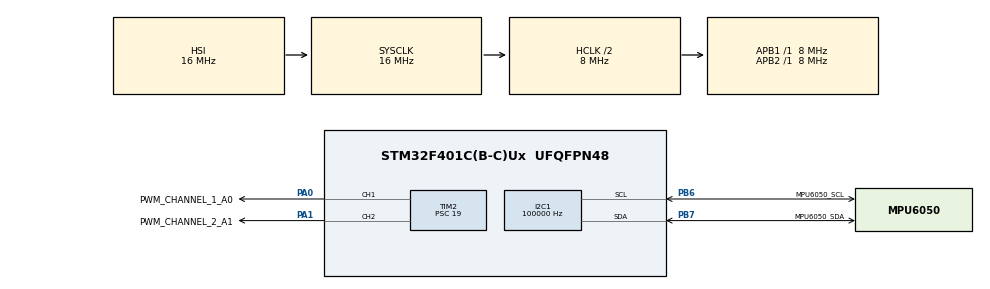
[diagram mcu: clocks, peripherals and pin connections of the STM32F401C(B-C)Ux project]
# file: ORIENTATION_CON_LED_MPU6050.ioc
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I2C1.ClockSpeed=100000
I2C1.I2C_Mode=I2C_Standard
Mcu.Family=STM32F4
Mcu.Name=STM32F401C(B-C)Ux
Mcu.Package=UFQFPN48
NVIC.PriorityGroup=NVIC_PRIORITYGROUP_4
NVIC.TIM2_IRQn=true\:0\:0\:false\:false\:true\:true\:true\:true
PA0-WKUP.GPIO_Label=PWM_CHANNEL_1_A0
PA0-WKUP.Signal=S_TIM2_CH1_ETR
PA1.GPIO_Label=PWM_CHANNEL_2_A1
PA1.Signal=S_TIM2_CH2
PB6.GPIO_Label=MPU6050_SCL
PB6.Mode=I2C
PB6.Signal=I2C1_SCL
PB7.GPIO_Label=MPU6050_SDA
PB7.Mode=I2C
PB7.Signal=I2C1_SDA
ProjectManager.HeapSize=0x200
ProjectManager.StackSize=0x400
ProjectManager.TargetToolchain=STM32CubeIDE
RCC.AHBCLKDivider=RCC_SYSCLK_DIV2
RCC.AHBFreq_Value=8000000
RCC.APB1Freq_Value=8000000
RCC.APB1TimFreq_Value=8000000
RCC.APB2Freq_Value=8000000
RCC.APB2TimFreq_Value=8000000
RCC.CortexFreq_Value=8000000
RCC.HCLKFreq_Value=8000000
RCC.HSE_VALUE=25000000
RCC.HSI_VALUE=16000000
RCC.LSE_VALUE=32768
RCC.SYSCLKFreq_VALUE=16000000
RCC.VCOOutputFreq_Value=192000000
SH.S_TIM2_CH1_ETR.0=TIM2_CH1,PWM Generation1 CH1
SH.S_TIM2_CH2.0=TIM2_CH2,PWM Generation2 CH2
TIM2.AutoReloadPreload=TIM_AUTORELOAD_PRELOAD_ENABLE
TIM2.Channel-PWM\ Generation1\ CH1=TIM_CHANNEL_1
TIM2.Channel-PWM\ Generation2\ CH2=TIM_CHANNEL_2
TIM2.Period=399
TIM2.Prescaler=19
TIM2.Pulse-PWM\ Generation1\ CH1=400
TIM2.Pulse-PWM\ Generation2\ CH2=8000
TIM2.TIM_MasterOutputTrigger=TIM_TRGO_UPDATE
VP_TIM2_VS_ClockSourceINT.Mode=Internal
board=custom

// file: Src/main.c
/* USER CODE BEGIN Header */
/**
  ******************************************************************************
  * @file           : main.c
  * @brief          : Main program body
  ******************************************************************************
  * @attention
  *
  * Copyright (c) 2025 STMicroelectronics.
  * All rights reserved.
  *
  * This software is licensed under terms that can be found in the LICENSE file
  * in the root directory of this software component.
  * If no LICENSE file comes with this software, it is provided AS-IS.
  *
  ******************************************************************************
  */
/* USER CODE END Header */
#include "main.h"

/* USER CODE BEGIN Includes */
#include "mpu6050.h"
#include <math.h>
#include "kalman_filter.h"
/* USER CODE END Includes */

I2C_HandleTypeDef hi2c1;

TIM_HandleTypeDef htim2;

void SystemClock_Config(void);
static void MX_GPIO_Init(void);
static void MX_TIM2_Init(void);
static void MX_I2C1_Init(void);

/* USER CODE BEGIN 0 */

uint32_t counter =0;
volatile uint32_t channel_1 = 8000;
volatile uint32_t channel_2 = 4000;

mpu6050_accel_data_t g_accel_data;
double acc_roll;
const mpu6050_accel_data_t error_offset = {
		.x=250,
		.y=-200,
		.z=386
};
Kalman_t kalmanRoll;
float kalman_roll_angle = 0;

/* USER CODE END 0 */

int main(void)
{

  /* MCU Configuration--------------------------------------------------------*/

  /* Reset of all peripherals, Initializes the Flash interface and the Systick. */
  HAL_Init();

  /* Configure the system clock */
  SystemClock_Config();

  /* Initialize all configured peripherals */
  MX_GPIO_Init();
  MX_TIM2_Init();
  MX_I2C1_Init();
  /* USER CODE BEGIN 2 */
  Kalman_Init(&kalmanRoll);

  if(mpu6050_init(&hi2c1, MPU6050_I2C_ADDR) != MPU6050_OK){
	  Error_Handler();
  }

  /* USER CODE END 2 */

  /* Infinite loop */
  while (1)
  {

    /* USER CODE BEGIN 3 */

#ifdef PWM_DEBUG
	  counter =_HAL_TIM_GET_COUNTER(&htim2);
#endif
	  if(mpu6050_read_accelerometer_data(&hi2c1, MPU6050_I2C_ADDR, &g_accel_data) != MPU6050_OK){
		  Error_Handler();
	  }

	  g_accel_data = mpu6050_accelerometer_calibration(&error_offset, &g_accel_data);
	  // Get accel angle
	  acc_roll = atan2(g_accel_data.y, g_accel_data.z) * (180.0f / M_PI);

	  // Read gyro

	  //HAL_Delay(500);
  }
  /* USER CODE END 3 */
}

void SystemClock_Config(void)
{
  RCC_OscInitTypeDef RCC_OscInitStruct = {0};
  RCC_ClkInitTypeDef RCC_ClkInitStruct = {0};

  /** Configure the main internal regulator output voltage
  */
  __HAL_RCC_PWR_CLK_ENABLE();
  __HAL_PWR_VOLTAGESCALING_CONFIG(PWR_REGULATOR_VOLTAGE_SCALE2);

  /** Initializes the RCC Oscillators according to the specified parameters
  * in the RCC_OscInitTypeDef structure.
  */
  RCC_OscInitStruct.OscillatorType = RCC_OSCILLATORTYPE_HSI;
  RCC_OscInitStruct.HSIState = RCC_HSI_ON;
  RCC_OscInitStruct.HSICalibrationValue = RCC_HSICALIBRATION_DEFAULT;
  RCC_OscInitStruct.PLL.PLLState = RCC_PLL_NONE;
  if (HAL_RCC_OscConfig(&RCC_OscInitStruct) != HAL_OK)
  {
    Error_Handler();
  }

  /** Initializes the CPU, AHB and APB buses clocks
  */
  RCC_ClkInitStruct.ClockType = RCC_CLOCKTYPE_HCLK|RCC_CLOCKTYPE_SYSCLK
                              |RCC_CLOCKTYPE_PCLK1|RCC_CLOCKTYPE_PCLK2;
  RCC_ClkInitStruct.SYSCLKSource = RCC_SYSCLKSOURCE_HSI;
  RCC_ClkInitStruct.AHBCLKDivider = RCC_SYSCLK_DIV2;
  RCC_ClkInitStruct.APB1CLKDivider = RCC_HCLK_DIV1;
  RCC_ClkInitStruct.APB2CLKDivider = RCC_HCLK_DIV1;

  if (HAL_RCC_ClockConfig(&RCC_ClkInitStruct, FLASH_LATENCY_0) != HAL_OK)
  {
    Error_Handler();
  }
}

static void MX_I2C1_Init(void)
{

  hi2c1.Instance = I2C1;
  hi2c1.Init.ClockSpeed = 100000;
  hi2c1.Init.DutyCycle = I2C_DUTYCYCLE_2;
  hi2c1.Init.OwnAddress1 = 0;
  hi2c1.Init.AddressingMode = I2C_ADDRESSINGMODE_7BIT;
  hi2c1.Init.DualAddressMode = I2C_DUALADDRESS_DISABLE;
  hi2c1.Init.OwnAddress2 = 0;
  hi2c1.Init.GeneralCallMode = I2C_GENERALCALL_DISABLE;
  hi2c1.Init.NoStretchMode = I2C_NOSTRETCH_DISABLE;
  if (HAL_I2C_Init(&hi2c1) != HAL_OK)
  {
    Error_Handler();
  }

}

static void MX_TIM2_Init(void)
{

  TIM_ClockConfigTypeDef sClockSourceConfig = {0};
  TIM_MasterConfigTypeDef sMasterConfig = {0};
  TIM_OC_InitTypeDef sConfigOC = {0};

  htim2.Instance = TIM2;
  htim2.Init.Prescaler = 199;
  htim2.Init.CounterMode = TIM_COUNTERMODE_UP;
  htim2.Init.Period = 19999;
  htim2.Init.ClockDivision = TIM_CLOCKDIVISION_DIV1;
  htim2.Init.AutoReloadPreload = TIM_AUTORELOAD_PRELOAD_ENABLE;
  if (HAL_TIM_Base_Init(&htim2) != HAL_OK)
  {
    Error_Handler();
  }
  sClockSourceConfig.ClockSource = TIM_CLOCKSOURCE_INTERNAL;
  if (HAL_TIM_ConfigClockSource(&htim2, &sClockSourceConfig) != HAL_OK)
  {
    Error_Handler();
  }
  if (HAL_TIM_PWM_Init(&htim2) != HAL_OK)
  {
    Error_Handler();
  }
  sMasterConfig.MasterOutputTrigger = TIM_TRGO_OC1;
  sMasterConfig.MasterSlaveMode = TIM_MASTERSLAVEMODE_DISABLE;
  if (HAL_TIMEx_MasterConfigSynchronization(&htim2, &sMasterConfig) != HAL_OK)
  {
    Error_Handler();
  }
  sConfigOC.OCMode = TIM_OCMODE_PWM1;
  sConfigOC.Pulse = 16000;
  sConfigOC.OCPolarity = TIM_OCPOLARITY_HIGH;
  sConfigOC.OCFastMode = TIM_OCFAST_DISABLE;
  if (HAL_TIM_PWM_ConfigChannel(&htim2, &sConfigOC, TIM_CHANNEL_1) != HAL_OK)
  {
    Error_Handler();
  }
  sConfigOC.Pulse = 4000;
  if (HAL_TIM_PWM_ConfigChannel(&htim2, &sConfigOC, TIM_CHANNEL_2) != HAL_OK)
  {
    Error_Handler();
  }
  HAL_TIM_MspPostInit(&htim2);

}

static void MX_GPIO_Init(void)
{

  /* GPIO Ports Clock Enable */
  __HAL_RCC_GPIOA_CLK_ENABLE();
  __HAL_RCC_GPIOB_CLK_ENABLE();

}

void Error_Handler(void)
{
  __disable_irq();
  while (1)
  {
  }
}
